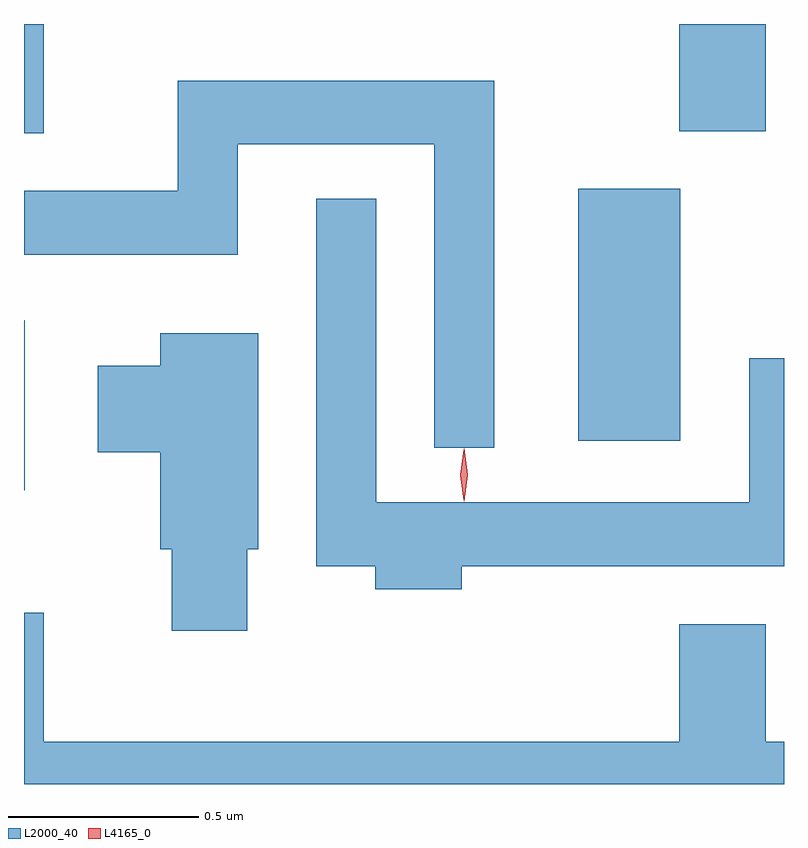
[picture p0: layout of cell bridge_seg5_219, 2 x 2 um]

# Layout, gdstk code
import gdstk
lib = gdstk.Library(unit=1e-6, precision=1e-09)
def R(c, l, rs):  # rectangles x0, y0, x1, y1
    for r in rs: c.add(gdstk.rectangle(r[:2], r[2:], *l))
def P(c, l, *ps):  # polygons
    for p in ps: c.add(gdstk.Polygon(p, *l))
L2000_40 = (2000, 40)
L4165_0 = (4165, 0)

bridge_seg5_219 = lib.new_cell('bridge_seg5_219')
R(bridge_seg5_219, L2000_40, [(1284.207,1419.986,1284.209,1420.434), (1285.666,1420.116,1285.934,1420.779), (1284.207,1420.926,1284.259,1421.213), (1285.931,1420.931,1286.159,1421.213)])
P(bridge_seg5_219, L2000_40, [(1285.444,1421.064),(1284.611,1421.064),(1284.611,1420.774),(1284.207,1420.774),(1284.207,1420.606),(1284.769,1420.606),(1284.769,1420.896),(1285.286,1420.896),(1285.286,1420.098),(1285.444,1420.098)],
  [(1285.359,1419.786),(1286.207,1419.786),(1286.207,1420.333),(1286.116,1420.333),(1286.116,1419.954),(1285.134,1419.954),(1285.134,1420.753),(1284.976,1420.753),(1284.976,1419.786),(1285.131,1419.786),(1285.131,1419.726),(1285.359,1419.726)],
  [(1284.794,1419.831),(1284.824,1419.831),(1284.824,1420.399),(1284.566,1420.399),(1284.566,1420.314),(1284.401,1420.314),(1284.401,1420.086),(1284.566,1420.086),(1284.566,1419.831),(1284.596,1419.831),(1284.596,1419.616),(1284.794,1419.616)],
  [(1286.207,1419.324),(1286.159,1419.324),(1286.159,1419.634),(1285.931,1419.634),(1285.931,1419.324),(1284.259,1419.324),(1284.259,1419.664),(1284.207,1419.664),(1284.207,1419.213),(1286.207,1419.213)])
P(bridge_seg5_219, L4165_0, [(1285.365,1419.959),(1285.364,1419.96),(1285.355,1420.026),(1285.364,1420.092),(1285.365,1420.093),(1285.366,1420.092),(1285.375,1420.026),(1285.366,1419.96)],
  [(1285.365,1419.957),(1285.365,1419.957),(1285.355,1420.027),(1285.365,1420.096),(1285.365,1420.096),(1285.366,1420.096),(1285.375,1420.027),(1285.366,1419.957)])

lib.write_gds('bridge_seg5_219.gds')
